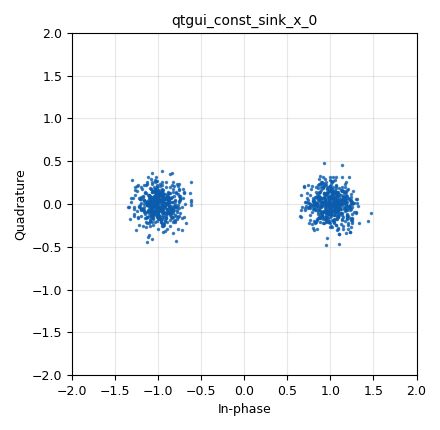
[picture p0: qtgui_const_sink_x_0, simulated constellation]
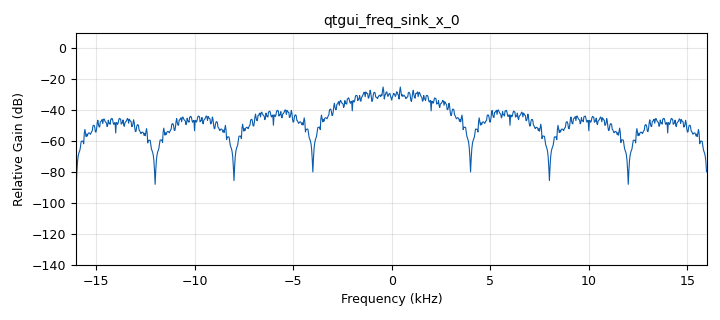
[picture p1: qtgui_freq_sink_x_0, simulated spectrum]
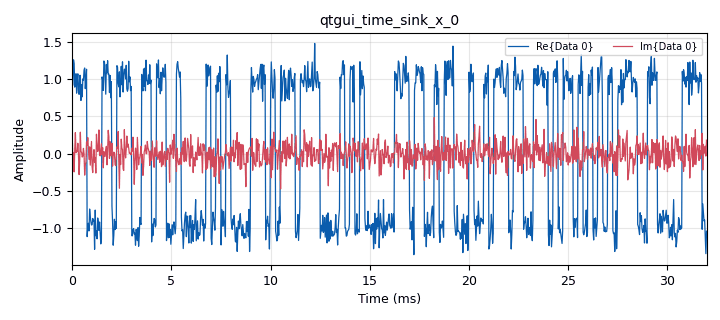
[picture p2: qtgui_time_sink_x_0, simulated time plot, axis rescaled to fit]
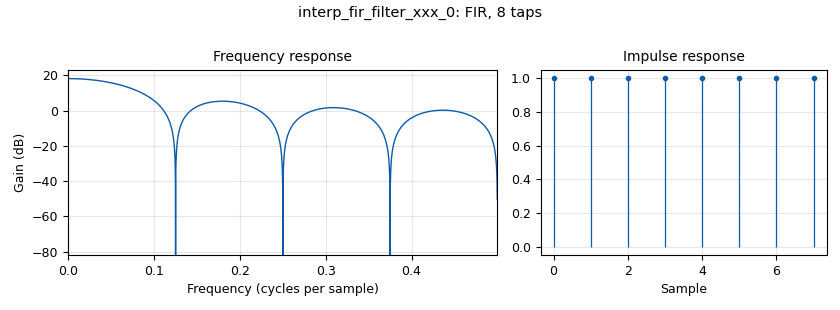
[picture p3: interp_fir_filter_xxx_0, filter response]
options:
  parameters:
    author: Carolay Castellanos, Dylan Villalba, Luis Rosas
    generate_options: qt_gui
    id: MZ
    output_language: python
    title: Prac2 FaseII
  states: {}

blocks:
- name: BW
  id: variable
  parameters:
    value: '16000'
  states: {}
- name: M0
  id: variable
  parameters:
    value: len(constelacion0)
  states: {}
- name: M1
  id: variable
  parameters:
    value: len(constelacion1)
  states: {state: disabled}
- name: M2
  id: variable
  parameters:
    value: len(constelacion2)
  states: {state: disabled}
- name: M3
  id: variable
  parameters:
    value: len(constelacion3)
  states: {state: disabled}
- name: Nlob
  id: variable
  parameters:
    value: '8'
  states: {}
- name: Rb0
  id: variable
  parameters:
    value: Rs*bps0
  states: {}
- name: Rb1
  id: variable
  parameters:
    value: Rs*bps1
  states: {state: disabled}
- name: Rb2
  id: variable
  parameters:
    value: Rs*bps2
  states: {state: disabled}
- name: Rb3
  id: variable
  parameters:
    value: Rs*bps3
  states: {state: disabled}
- name: Rs
  id: variable
  parameters:
    value: '4000'
  states: {}
- name: Sps
  id: variable
  parameters:
    value: '8'
  states: {}
- name: bps0
  id: variable
  parameters:
    value: int(math.log(M0,2))
  states: {}
- name: bps1
  id: variable
  parameters:
    value: int(math.log(M1,2))
  states: {state: disabled}
- name: bps2
  id: variable
  parameters:
    value: int(math.log(M,2))
  states: {state: disabled}
- name: bps3
  id: variable
  parameters:
    value: int(math.log(M3,2))
  states: {state: disabled}
- name: constelacion0
  id: variable
  parameters:
    value: digital.constellation_bpsk().points()
  states: {}
- name: constelacion1
  id: variable
  parameters:
    value: digital.constellation_qpsk().points()
  states: {state: disabled}
- name: constelacion2
  id: variable
  parameters:
    value: digital.constellation_8psk().points()
  states: {state: disabled}
- name: constelacion3
  id: variable
  parameters:
    value: digital.constellation_16qam().points()
  states: {state: disabled}
- name: h
  id: variable
  parameters:
    value: '[1]*Sps'
  states: {}
- name: samp_rate
  id: variable
  parameters:
    value: Rs*Sps
  states: {}
- name: variable_0
  id: variable
  parameters:
    value: '0'
  states: {state: disabled}
- name: analog_noise_source_x_0
  id: analog_noise_source_x
  parameters:
    amp: '0.2'
    noise_type: analog.GR_GAUSSIAN
    seed: '0'
    type: complex
  states: {}
- name: analog_random_source_x_0
  id: analog_random_source_x
  parameters:
    max: '2'
    min: '0'
    num_samps: '1000'
    repeat: 'True'
    type: byte
  states: {}
- name: blocks_add_xx_0
  id: blocks_add_xx
  parameters:
    type: complex
  states: {}
- name: blocks_pack_k_bits_bb_0
  id: blocks_pack_k_bits_bb
  parameters:
    k: '8'
  states: {}
- name: blocks_packed_to_unpacked_xx_0
  id: blocks_packed_to_unpacked_xx
  parameters:
    bits_per_chunk: bps0
    endianness: gr.GR_MSB_FIRST
    type: byte
  states: {}
- name: digital_chunks_to_symbols_xx_0
  id: digital_chunks_to_symbols_xx
  parameters:
    dimension: '1'
    in_type: byte
    out_type: complex
    symbol_table: constelacion0
  states: {}
- name: import_0
  id: import
  parameters:
    imports: import math
  states: {}
- name: import_0_0
  id: import
  parameters:
    imports: from gnuradio import digital
  states: {}
- name: interp_fir_filter_xxx_0
  id: interp_fir_filter_xxx
  parameters:
    interp: Sps
    taps: h
    type: ccf
  states: {}
- name: qtgui_const_sink_x_0
  id: qtgui_const_sink_x
  parameters:
    size: '1024'
    type: complex
  states: {}
- name: qtgui_freq_sink_x_0
  id: qtgui_freq_sink_x
  parameters:
    average: '0.05'
    bw: samp_rate
    fc: '0'
    fftsize: '1024'
    type: complex
  states: {}
- name: qtgui_time_sink_x_0
  id: qtgui_time_sink_x
  parameters:
    size: '1024'
    srate: samp_rate
    type: complex
  states: {}
- name: virtual_sink_0
  id: virtual_sink
  parameters:
    stream_id: p1
  states: {}
- name: virtual_sink_0_0
  id: virtual_sink
  parameters:
    stream_id: p0
  states: {}
- name: virtual_source_0
  id: virtual_source
  parameters:
    stream_id: p1
  states: {}
- name: virtual_source_0_0
  id: virtual_source
  parameters:
    stream_id: p0
  states: {}

connections:
- [analog_noise_source_x_0, '0', blocks_add_xx_0, '0']
- [analog_random_source_x_0, '0', blocks_pack_k_bits_bb_0, '0']
- [blocks_add_xx_0, '0', virtual_sink_0, '0']
- [blocks_pack_k_bits_bb_0, '0', blocks_packed_to_unpacked_xx_0, '0']
- [blocks_packed_to_unpacked_xx_0, '0', digital_chunks_to_symbols_xx_0, '0']
- [digital_chunks_to_symbols_xx_0, '0', interp_fir_filter_xxx_0, '0']
- [interp_fir_filter_xxx_0, '0', blocks_add_xx_0, '1']
- [interp_fir_filter_xxx_0, '0', virtual_sink_0_0, '0']
- [virtual_source_0, '0', qtgui_const_sink_x_0, '0']
- [virtual_source_0, '0', qtgui_time_sink_x_0, '0']
- [virtual_source_0_0, '0', qtgui_freq_sink_x_0, '0']

metadata:
  file_format: 1
